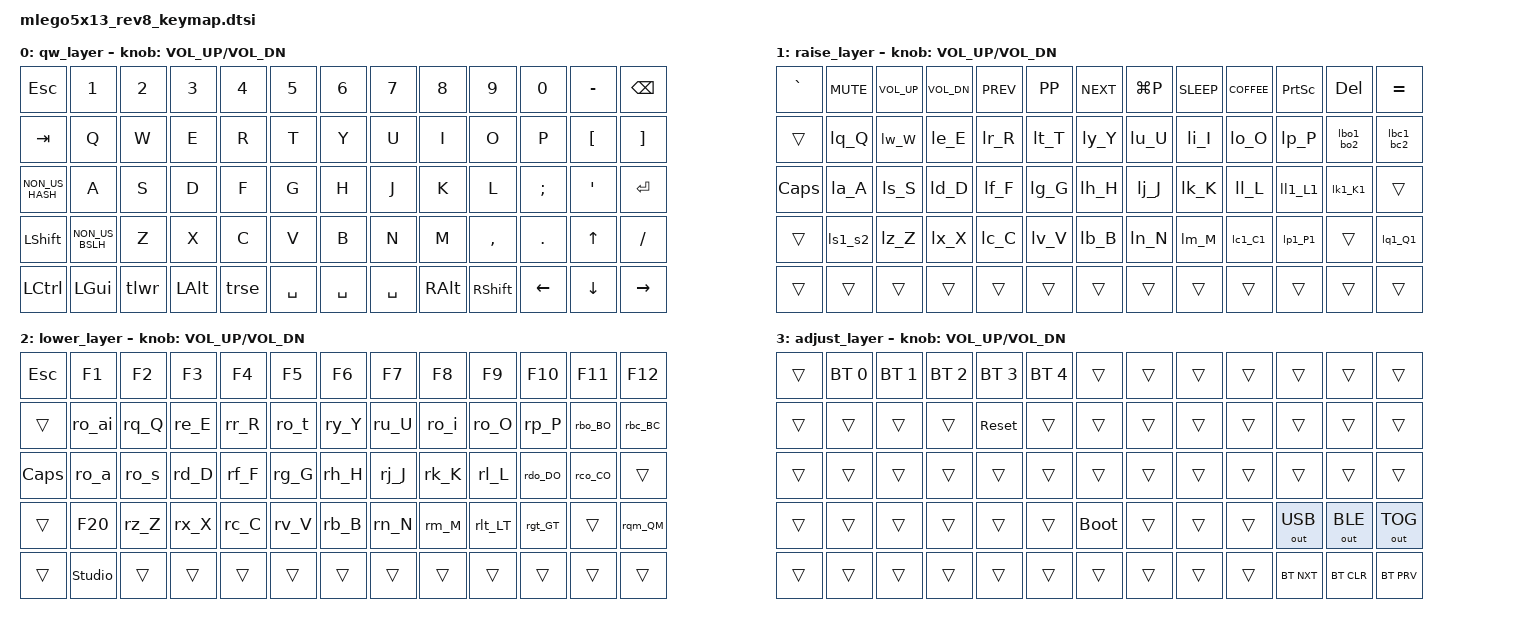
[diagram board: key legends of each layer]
/*
 * Copyright (c) 2022-2024 The ZMK Contributors
 *
 * SPDX-License-Identifier: MIT
 */
 
#define HOST_OS 1
#include <behaviors.dtsi>
#include <dt-bindings/zmk/keys.h>
#include <dt-bindings/zmk/outputs.h>
#include <dt-bindings/zmk/bt.h>
#include <dt-bindings/zmk/ext_power.h>
#include "zmk-helpers/helper.h"
#include "romanian.dtsi"
#include "my_keys.dtsi"

#define  QW 0
#define RSE 1
#define LWR 2
#define ADJ 3

/ {

    conditional_layers {
        compatible = "zmk,conditional-layers";
        tri_layer {
            if-layers = <LWR RSE>;
            then-layer = <ADJ>;
        };
    };

    behaviors {
        tlwr: tlwr {
            compatible = "zmk,behavior-tap-dance";
            #binding-cells = <0>;
            tapping-term-ms = <200>;
            bindings = <&mo LWR>, <&tog LWR>, <&trans>;
        };

        trse: trse {
            compatible = "zmk,behavior-tap-dance";
            #binding-cells = <0>;
            tapping-term-ms = <200>;
            bindings = <&mo RSE>, <&tog RSE>, <&trans>;
        };
    };

    keymap {
        compatible = "zmk,keymap";

/*
┌────┬────┬────┬────┬────┬────┬────┬────┬────┬────┬────┬────┬────┬────┐
│ ⎋  │ 1  │ 2  │ 3  │ 4  │ 5  │ 6  │ 7  │ 8  │ 9  │ 0  │ -  │ ⌫  │ xx │
├────┼────┼────┼────┼────┼────┼────┼────┼────┼────┼────┼────┼────┼────┘
│ ↹  │ q  │ w  │ e  │ r  │ t  │ y  │ u  │ i  │ o  │ p  │ [  │ ]  │
├────┼────┼────┼────┼────┼────┼────┼────┼────┼────┼────┼────┼────┤
│ #  │ a  │ s  │ d  │ f  │ g  │ h  │ j  │ k  │ l  │ ;  │ '  │ ⏎  │
├────┼────┼────┼────┼────┼────┼────┼────┼────┼────┼────┼────┼────┤
│ ⇧( │ \  │ z  │ x  │ c  │ v  │ b  │ n  │ m  │ ,  │ .  │ ↑  │ /  │
├────┼────┼────┼────┼────┼────┼────┼────┼────┼────┼────┼────┼────┤
│ ⎈  │   │ ⇓  │ ⎇  │ ⇑  │    │    │    │ ⎇  │ ⇧) │ ←  │ ↓  │ →  │
└────┴────┴────┴────┴────┴────┴────┴────┴────┴────┴────┴────┴────┘
*/
        qw_layer {
            bindings = <
                &kp ESC          &kp N1          &kp N2 &kp N3   &kp N4 &kp N5    &kp N6    &kp N7    &kp N8   &kp N9    &kp N0   &kp MINUS &kp BSPC 
                &kp TAB          &kp Q           &kp W  &kp E    &kp R  &kp T     &kp Y     &kp U     &kp I    &kp O     &kp P    &kp LBKT  &kp RBKT
                &kp NON_US_HASH  &kp A           &kp S  &kp D    &kp F  &kp G     &kp H     &kp J     &kp K    &kp L     &kp SEMI &kp APOS  &kp RET
                &kp LSHFT        &kp NON_US_BSLH &kp Z  &kp X    &kp C  &kp V     &kp B     &kp N     &kp M    &kp COMMA &kp DOT  &kp UP    &kp FSLH   
                &kp LCTRL        &kp LGUI        &tlwr  &kp LALT &trse  &kp SPACE &kp SPACE &kp SPACE &kp RALT &kp RSHFT &kp LEFT &kp DOWN  &kp RIGHT 
            >;
      sensor-bindings = <&inc_dec_kp C_VOL_UP C_VOL_DN>;
        };
        raise_layer {
            bindings = <
                &kp GRAVE &kp K_MUTE &kp K_VOL_UP &kp K_VOL_DN &kp K_PREV &kp K_PP &kp K_NEXT &kp LG(P)   &kp K_SLEEP &kp K_COFFEE &kp PSCRN &kp DEL    &kp EQUAL 
                &trans    &lq_Q      &lw_W        &le_E        &lr_R      &lt_T    &ly_Y      &lu_U       &li_I       &lo_O        &lp_P     &lbo1_bo2  &lbc1_bc2
                &kp CAPS  &la_A      &ls_S        &ld_D        &lf_F      &lg_G    &lh_H      &lj_J       &lk_K       &ll_L        &ll1_L1   &lk1_K1    &trans
                &trans    &ls1_s2    &lz_Z        &lx_X        &lc_C      &lv_V    &lb_B      &ln_N       &lm_M       &lc1_C1      &lp1_P1   &trans     &lq1_Q1
                &trans    &trans     &trans       &trans       &trans     &trans   &trans     &trans      &trans      &trans       &trans    &trans     &trans
            >;
      sensor-bindings = <&inc_dec_kp C_VOL_UP C_VOL_DN>;
        };
        lower_layer {
            bindings = <
                &kp ESC  &kp F1          &kp F2   &kp F3  &kp F4  &kp F5  &kp F6  &kp F7  &kp F8  &kp F9  &kp F10 &kp F11 &kp F12 
                &trans   &ro_ai          &rq_Q    &re_E   &rr_R   &ro_t   &ry_Y   &ru_U   &ro_i   &ro_O   &rp_P    &rbo_BO &rbc_BC
                &kp CAPS &ro_a           &ro_s    &rd_D   &rf_F   &rg_G   &rh_H   &rj_J   &rk_K   &rl_L   &rdo_DO  &rco_CO  &trans
                &trans   &kp F20         &rz_Z    &rx_X   &rc_C   &rv_V   &rb_B   &rn_N   &rm_M   &rlt_LT &rgt_GT  &trans  &rqm_QM
                &trans   &studio_unlock  &trans   &trans  &trans  &trans  &trans  &trans  &trans  &trans  &trans  &trans  &trans
            >; 
      sensor-bindings = <&inc_dec_kp C_VOL_UP C_VOL_DN>;
        };

/*
adj layer
 * ┌───┬────┬───┬───┬───┬───┬────┬───┬───┬───┬───┬────┬────┐
 * │TOG│bt0 │bt1│bt2│bt3│bt4│    │   │   │   │   │ SPI│ SPD│
 * ├───┼────┼───┼───┼───┼───┼────┼───┼───┼───┼───┼────┼────┤
 * │HUI│HUD │   │   │rst│   │    │   │   │   │   │ EFF│ EFR│
 * ├───┼────┼───┼───┼───┼───┼────┼───┼───┼───┼───┼────┼────┤
 * │SAI│SAD │   │   │   │   │    │   │   │   │   │    │    │
 * ├───┼────┼───┼───┼───┼───┼────┼───┼───┼───┼───┼────┼────┤
 * │BRI│BRD │   │   │   │   │boot│   │   │   │   │bt  │    │
 * ├───┼────┼───┼───┼───┼───┼────┼───┼───┼───┼───┼────┼────┤
 * │ ON│OFF │   │   │   │   │    │   │   │USB│btN│btC │ btP│
 * └───┴────┴───┴───┴───┴───┴────┴───┴───┴───┴───┴────┴────┘
*/

        adjust_layer {
            bindings = <
                &trans  &bt BT_SEL 0    &bt BT_SEL 1 &bt BT_SEL 2 &bt BT_SEL 3 &bt BT_SEL 4 &trans      &trans &trans &trans &trans       &trans       &trans 
                &trans  &trans          &trans       &trans       &sys_reset   &trans        &trans      &trans &trans &trans &trans       &trans       &trans
                &trans  &trans          &trans       &trans       &trans       &trans       &trans      &trans &trans &trans &trans       &trans       &trans
                &trans  &trans          &trans       &trans       &trans       &trans       &bootloader &trans &trans &trans &out OUT_USB &out OUT_BLE &out OUT_TOG 
                &trans  &trans          &trans       &trans       &trans       &trans       &trans      &trans &trans &trans &bt BT_NXT   &bt BT_CLR   &bt BT_PRV   
            >;
      sensor-bindings = <&inc_dec_kp C_VOL_UP C_VOL_DN>;
        };

    };
};
